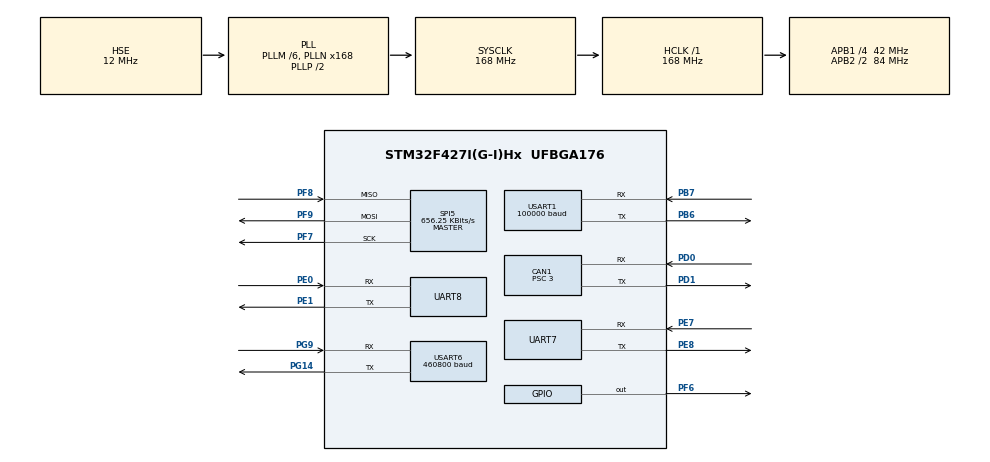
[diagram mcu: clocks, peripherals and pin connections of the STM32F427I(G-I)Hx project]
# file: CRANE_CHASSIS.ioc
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CAN1.ABOM=ENABLE
CAN1.BS1=CAN_BS1_10TQ
CAN1.BS2=CAN_BS2_3TQ
CAN1.CalculateBaudRate=1000000
CAN1.CalculateTimeBit=1000
CAN1.CalculateTimeQuantum=71.42857142857143
CAN1.Prescaler=3
Dma.Request0=USART1_RX
Dma.Request1=UART8_TX
Dma.UART8_TX.1.Direction=DMA_MEMORY_TO_PERIPH
Dma.UART8_TX.1.FIFOMode=DMA_FIFOMODE_DISABLE
Dma.UART8_TX.1.Instance=DMA1_Stream0
Dma.UART8_TX.1.MemDataAlignment=DMA_MDATAALIGN_BYTE
Dma.UART8_TX.1.MemInc=DMA_MINC_ENABLE
Dma.UART8_TX.1.Mode=DMA_CIRCULAR
Dma.UART8_TX.1.PeriphDataAlignment=DMA_PDATAALIGN_BYTE
Dma.UART8_TX.1.PeriphInc=DMA_PINC_DISABLE
Dma.UART8_TX.1.Priority=DMA_PRIORITY_LOW
Dma.USART1_RX.0.Direction=DMA_PERIPH_TO_MEMORY
Dma.USART1_RX.0.FIFOMode=DMA_FIFOMODE_DISABLE
Dma.USART1_RX.0.Instance=DMA2_Stream2
Dma.USART1_RX.0.MemDataAlignment=DMA_MDATAALIGN_BYTE
Dma.USART1_RX.0.MemInc=DMA_MINC_ENABLE
Dma.USART1_RX.0.Mode=DMA_NORMAL
Dma.USART1_RX.0.PeriphDataAlignment=DMA_PDATAALIGN_BYTE
Dma.USART1_RX.0.PeriphInc=DMA_PINC_DISABLE
Dma.USART1_RX.0.Priority=DMA_PRIORITY_LOW
Mcu.Family=STM32F4
Mcu.Name=STM32F427I(G-I)Hx
Mcu.Package=UFBGA176
NVIC.CAN1_RX0_IRQn=true\:0\:0\:false\:false\:true\:true\:true\:true
NVIC.CAN1_TX_IRQn=true\:0\:0\:false\:false\:true\:true\:true\:true
NVIC.DMA1_Stream0_IRQn=true\:0\:0\:false\:false\:true\:false\:true\:true
NVIC.DMA2_Stream2_IRQn=true\:0\:0\:false\:false\:true\:false\:true\:true
NVIC.PriorityGroup=NVIC_PRIORITYGROUP_4
NVIC.TIM3_IRQn=true\:0\:0\:false\:false\:true\:true\:true\:true
NVIC.UART7_IRQn=true\:0\:0\:false\:false\:true\:true\:true\:true
NVIC.UART8_IRQn=true\:0\:0\:false\:false\:true\:true\:true\:true
NVIC.USART1_IRQn=true\:0\:0\:false\:false\:true\:true\:true\:true
NVIC.USART6_IRQn=true\:0\:0\:false\:false\:true\:true\:true\:true
PA13.Mode=Serial_Wire
PA13.Signal=SYS_JTMS-SWDIO
PA14.Mode=Serial_Wire
PA14.Signal=SYS_JTCK-SWCLK
PB6.Mode=Asynchronous
PB6.Signal=USART1_TX
PB7.Mode=Asynchronous
PB7.Signal=USART1_RX
PD0.Mode=CAN_Activate
PD0.Signal=CAN1_RX
PD1.Mode=CAN_Activate
PD1.Signal=CAN1_TX
PE0.Mode=Asynchronous
PE0.Signal=UART8_RX
PE1.Mode=Asynchronous
PE1.Signal=UART8_TX
PE7.Mode=Asynchronous
PE7.Signal=UART7_RX
PE8.Mode=Asynchronous
PE8.Signal=UART7_TX
PF6.Signal=GPIO_Output
PF7.Mode=Full_Duplex_Master
PF7.Signal=SPI5_SCK
PF8.Mode=Full_Duplex_Master
PF8.Signal=SPI5_MISO
PF9.Mode=Full_Duplex_Master
PF9.Signal=SPI5_MOSI
PG14.Mode=Asynchronous
PG14.Signal=USART6_TX
PG9.Mode=Asynchronous
PG9.Signal=USART6_RX
PH0/OSC_IN.Mode=HSE-External-Oscillator
PH0/OSC_IN.Signal=RCC_OSC_IN
PH1/OSC_OUT.Mode=HSE-External-Oscillator
PH1/OSC_OUT.Signal=RCC_OSC_OUT
ProjectManager.HeapSize=0x200
ProjectManager.StackSize=0x400
ProjectManager.TargetToolchain=MDK-ARM V5.32
RCC.48MHZClocksFreq_Value=84000000
RCC.AHBFreq_Value=168000000
RCC.APB1CLKDivider=RCC_HCLK_DIV4
RCC.APB1Freq_Value=42000000
RCC.APB1TimFreq_Value=84000000
RCC.APB2CLKDivider=RCC_HCLK_DIV2
RCC.APB2Freq_Value=84000000
RCC.APB2TimFreq_Value=168000000
RCC.CortexFreq_Value=168000000
RCC.HCLKFreq_Value=168000000
RCC.HSE_VALUE=12000000
RCC.HSI_VALUE=16000000
RCC.LSE_VALUE=32768
RCC.PLLM=6
RCC.PLLN=168
RCC.PLLSourceVirtual=RCC_PLLSOURCE_HSE
RCC.SYSCLKFreq_VALUE=168000000
RCC.SYSCLKSource=RCC_SYSCLKSOURCE_PLLCLK
RCC.VCOOutputFreq_Value=336000000
SPI5.BaudRatePrescaler=SPI_BAUDRATEPRESCALER_128
SPI5.CalculateBaudRate=656.25 KBits/s
SPI5.Direction=SPI_DIRECTION_2LINES
SPI5.Mode=SPI_MODE_MASTER
SPI5.VirtualType=VM_MASTER
TIM3.Period=1000-1
TIM3.Prescaler=168-1
UART7.VirtualMode=Asynchronous
UART8.StopBits=UART_STOPBITS_1
UART8.VirtualMode=Asynchronous
USART1.BaudRate=100000
USART1.VirtualMode=VM_ASYNC
USART6.BaudRate=460800
USART6.VirtualMode=VM_ASYNC
VP_TIM3_VS_ClockSourceINT.Mode=Internal
board=custom

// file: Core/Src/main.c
/* USER CODE BEGIN Header */
/**
  ******************************************************************************
  * @file           : main.c
  * @brief          : Main program body
  ******************************************************************************
  * @attention
  *
  * Copyright (c) 2025 STMicroelectronics.
  * All rights reserved.
  *
  * This software is licensed under terms that can be found in the LICENSE file
  * in the root directory of this software component.
  * If no LICENSE file comes with this software, it is provided AS-IS.
  *
  ******************************************************************************
  */
/* USER CODE END Header */
#include "main.h"
#include "can.h"
#include "dma.h"
#include "spi.h"
#include "tim.h"
#include "usart.h"
#include "gpio.h"

/* USER CODE BEGIN Includes */
/******************/
/********姣忔cubemx鐢熸垚鍚庨兘闇€瑕佸湪stm32f4xx_it.c閲岄潰鎶奌AL_UART_IRQHandler(&huart1)娉ㄩ噴鎺?******/
/******************/
#include "RC_Task.h"
#include "mytype.h"
#include "CanBus_Task.h"
#include "PID.h"
#include "Paraminit.h"
#include "ControlTask.h"
#include "flow_decode.h"
#include "wit_c_sdk.h"
#include "stdio.h"
#include "string.h"
#include "math.h"
#include "uart_comm.h"
#include "VisionComm.h"
#include "Buzzer.h"
//#include "kalman.h"
/* USER CODE END Includes */

/* USER CODE BEGIN PTD */

/*********閬ユ帶DR16*************/
  uint8_t TIM3_flag=0;
  uint8_t c_flag=0;
	uint8_t ctrl_c_flag=0;
	uint8_t v_flag=0;
	uint8_t ctrl_v_flag=0;
	uint8_t e_flag=0;
	uint8_t f_flag,g_flag=0;
	uint8_t gimbal_view_chassis_flag=0;

/********IMU闄€铻轰华**************/
#define ACC_UPDATE		0x01
#define GYRO_UPDATE		0x02
#define ANGLE_UPDATE	0x04
#define MAG_UPDATE		0x08
#define READ_UPDATE		0x80
static volatile char s_cDataUpdate = 0, s_cCmd = 0xff;
const uint32_t c_uiBaud[10] = {0, 4800, 9600, 19200, 38400, 57600, 115200, 230400, 460800, 921600};
static void SensorUartSend(uint8_t *p_data, uint32_t uiSize);
static void SensorDataUpdata(uint32_t uiReg, uint32_t uiRegNum);
static void Delayms(uint16_t ucMs);

float fAcc[3], fGyro[3], fAngle[3];
int i;
float fAngle_tmp = 0;

enum{

    Angle_Roll = 0,
    Angle_Pitch = 1,
    Angle_Yaw = 2,
};
uint8_t IMU_Rx_Buffer = 0;

/*******鍏夋祦璁℃帴鏀?********/
#define MINCOOR 3
uint8_t Flow_Rx_Buffer = 0;
int ret;
uint8_t limit_control_flag = 0;
/*******涓婁綅鏈烘帴鏀?********/
uint8_t uart_rx_buffer[UART_BUFFER_SIZE];
//float speedBuffer[4];
uint8_t stopflag = 0;
/* USER CODE END PTD */

/* USER CODE BEGIN PV */
uint8_t updatePosFlag = 0;
/* USER CODE END PV */

void SystemClock_Config(void);

/* USER CODE BEGIN 0 */
void imu_getData()
{
//	CmdProcess();
		if(s_cDataUpdate)
		{
//			for(i = 0; i < 3; i++)
//			{
//				fAcc[i] = sReg[AX+i] / 32768.0f * 16.0f;
//				fGyro[i] = sReg[GX+i] / 32768.0f * 2000.0f;
//			}
			if(sReg[TEMP] - sReg[Roll] > 10 | sReg[Roll] - sReg[TEMP] > 10)
			{
				fAngle[0] = sReg[Roll] / 32768.0f * 180.0f;
				fAngle_tmp = fAngle[0];
			}
			else   fAngle[0] = fAngle_tmp;

			for(i = 1; i<3;i++)
			{
				fAngle[i] = sReg[Roll+i] / 32768.0f * 180.0f;
			}
		   coor.angle = fAngle[Angle_Yaw];
//			if(s_cDataUpdate & ACC_UPDATE)
//			{
//				printf("acc:%.3f %.3f %.3f\r\n", fAcc[0], fAcc[1], fAcc[2]);
//				s_cDataUpdate &= ~ACC_UPDATE;
//			}
//			if(s_cDataUpdate & GYRO_UPDATE)
//			{
//				printf("gyro:%.3f %.3f %.3f\r\n", fGyro[0], fGyro[1], fGyro[2]);
//				s_cDataUpdate &= ~GYRO_UPDATE;
//			}
			if(s_cDataUpdate & ANGLE_UPDATE)
			{
//				printf("angle:%.3f %.3f %.3f\r\n", fAngle[0], fAngle[1], fAngle[2]);
				s_cDataUpdate &= ~ANGLE_UPDATE;
			}
//			if(s_cDataUpdate & MAG_UPDATE)
//			{
//				printf("mag:%d %d %d\r\n", sReg[HX], sReg[HY], sReg[HZ]);
//				s_cDataUpdate &= ~MAG_UPDATE;
//			}
		}
}

/* USER CODE END 0 */

int main(void)
{

  /* MCU Configuration--------------------------------------------------------*/

  /* Reset of all peripherals, Initializes the Flash interface and the Systick. */
  HAL_Init();

  /* Configure the system clock */
  SystemClock_Config();

  /* Initialize all configured peripherals */
  MX_GPIO_Init();
  MX_DMA_Init();
  MX_CAN1_Init();
  MX_USART1_UART_Init();
  MX_TIM3_Init();
  MX_USART6_UART_Init();
  MX_SPI5_Init();
  MX_UART7_Init();
  MX_UART8_Init();
  /* USER CODE BEGIN 2 */
	if (Buzzer_Init() == HAL_OK)
	{
		Buzzer_Play(BUZZER_SOUND_BOOT);
	}
 	CANFilterInit();//锟斤拷锟斤拷CAN通锟斤拷

	ParamInit();//pid param init
	ABoardKey_Init();//DJI A board key init for motor closed-loop test

	WitInit(WIT_PROTOCOL_NORMAL, 0x50);//姝ｅ父妯″紡
	WitSerialWriteRegister(SensorUartSend);//娉ㄥ唽涓插彛鍙戦€佸嚱鏁?
	WitRegisterCallBack(SensorDataUpdata);//娉ㄥ唽鏁版嵁鏇存柊鍥炶皟鍑芥暟
	WitDelayMsRegister(Delayms);//娉ㄥ唽寤舵椂鍑芥暟
	// AutoScanSensor();
	HAL_UART_Receive_IT_IDLE(&huart1,UART_Buffer,100); //閬ユ帶鍣ㄤ覆鍙ｅ垵濮嬪寲
	HAL_UART_Receive_IT(&huart6, &Flow_Rx_Buffer ,1);//鍏夋祦璁℃帴鏀朵腑鏂?
	HAL_UART_Receive_IT(&huart7, &IMU_Rx_Buffer, 1);//IMU鎺ユ敹涓柇
	VisionComm_Init(&huart8);
//	HAL_UART_Receive_IT(&huart8, &uart_rx_buffer[buffer_index], 1);//涓婁綅鏈烘帴鏀朵腑鏂?
//	HAL_UART_Receive_IT(&huart8, &uart_rx_buffer[buffer_index], 1);//涓婁綅鏈烘帴鏀朵腑鏂?
	/* UART8 reserved for MaixCAM vision text protocol. */

//	kalman_Init();
//	while (!(s_cDataUpdate & ANGLE_UPDATE))
//	{
//		imu_getData();
//	}
	HAL_TIM_Base_Start_IT(&htim3);//1ms瀹氭椂

  /* USER CODE END 2 */

  /* Infinite loop */
  /* USER CODE BEGIN WHILE */
  while (1)
  {
//		speedBuffer[0] = (float)Chassis.fr_motor_rpm_201;
//	  	speedBuffer[1] = (float)Chassis.fl_motor_rpm_202;
//		speedBuffer[2] = (float)Chassis.rl_motor_rpm_203;
//		speedBuffer[3] = (float)Chassis.rr_motor_rpm_204;

//	  if( (-5 < Chassis.fr_motor_rpm_201 && Chassis.fr_motor_rpm_201 < 5) &&
//		  (-5 < Chassis.fl_motor_rpm_202 && Chassis.fl_motor_rpm_202 < 5) &&
//	      (-5 < Chassis.rl_motor_rpm_203 &&Chassis.rl_motor_rpm_203 < 5) &&
//		  (-5 <Chassis.rr_motor_rpm_204 &&Chassis.rr_motor_rpm_204 < 5))
//		  stopflag = 1;//杞﹀凡缁忛潤姝?
//	 if( (Chassis.fr_motor_rpm_201 == 0) &&
//		  (Chassis.fl_motor_rpm_202==0) &&
//	      (Chassis.rl_motor_rpm_203==0) &&
//		  (Chassis.rr_motor_rpm_204==0))
//		  stopflag = 1;//杞﹀凡缁忛潤姝?
//	 else
//		  stopflag = 0;
//	  imu_getData();
	  if (coor.flow_x - coor.target_x < 500  &&
			  coor.flow_x - coor.target_x > -500 &&
			  coor.flow_y - coor.target_y < 500  &&
			  coor.flow_y - coor.target_y > -500 &&
			  coor.angle - coor.target_angle < 0.08f&&
			  coor.angle - coor.target_angle > -0.08f)
		  {
			  stopflag = 1;//杞﹀凡缁忛潤姝?
		  }
		  else
		  {
			  stopflag = 0;
		  }
	  	if(TIM3_flag ==1)
		{
			TIM3_flag =0;

			AllTask();
//			 if(RC_UPPER_RIGHT_SW_DOWN)
//			 {
//				 c_flag=1;
//				 LED2_OFF;

//			 }
//			 else
//			 {
//					c_flag=0;
//					LED2_ON;
//			 }
//			 sen_can_comu_Board2(&hcan2, c_flag,ctrl_c_flag,v_flag,ctrl_v_flag,e_flag,f_flag,g_flag, gimbal_view_chassis_flag);
		}
    /* USER CODE END WHILE */

  }
}

void SystemClock_Config(void)
{
  RCC_OscInitTypeDef RCC_OscInitStruct = {0};
  RCC_ClkInitTypeDef RCC_ClkInitStruct = {0};

  /** Configure the main internal regulator output voltage
  */
  __HAL_RCC_PWR_CLK_ENABLE();
  __HAL_PWR_VOLTAGESCALING_CONFIG(PWR_REGULATOR_VOLTAGE_SCALE1);

  /** Initializes the RCC Oscillators according to the specified parameters
  * in the RCC_OscInitTypeDef structure.
  */
  RCC_OscInitStruct.OscillatorType = RCC_OSCILLATORTYPE_HSE;
  RCC_OscInitStruct.HSEState = RCC_HSE_ON;
  RCC_OscInitStruct.PLL.PLLState = RCC_PLL_ON;
  RCC_OscInitStruct.PLL.PLLSource = RCC_PLLSOURCE_HSE;
  RCC_OscInitStruct.PLL.PLLM = 6;
  RCC_OscInitStruct.PLL.PLLN = 168;
  RCC_OscInitStruct.PLL.PLLP = RCC_PLLP_DIV2;
  RCC_OscInitStruct.PLL.PLLQ = 4;
  if (HAL_RCC_OscConfig(&RCC_OscInitStruct) != HAL_OK)
  {
    Error_Handler();
  }

  /** Initializes the CPU, AHB and APB buses clocks
  */
  RCC_ClkInitStruct.ClockType = RCC_CLOCKTYPE_HCLK|RCC_CLOCKTYPE_SYSCLK
                              |RCC_CLOCKTYPE_PCLK1|RCC_CLOCKTYPE_PCLK2;
  RCC_ClkInitStruct.SYSCLKSource = RCC_SYSCLKSOURCE_PLLCLK;
  RCC_ClkInitStruct.AHBCLKDivider = RCC_SYSCLK_DIV1;
  RCC_ClkInitStruct.APB1CLKDivider = RCC_HCLK_DIV4;
  RCC_ClkInitStruct.APB2CLKDivider = RCC_HCLK_DIV2;

  if (HAL_RCC_ClockConfig(&RCC_ClkInitStruct, FLASH_LATENCY_5) != HAL_OK)
  {
    Error_Handler();
  }
}

/* USER CODE BEGIN 4 */
void HAL_TIM_PeriodElapsedCallback(TIM_HandleTypeDef *htim)
{
    static uint16_t ms1 = 0,ms2 = 0,ms3=0;
    if(htim->Instance == TIM3)
    {

            ms1 = 0;
            TIM3_flag = 1;

	}
}

void HAL_UART_RxCpltCallback(UART_HandleTypeDef *huart)
{
	if (huart->Instance == USART6)
	{
		ret = upnotof_parse_char(Flow_Rx_Buffer);
			//302GS浣跨敤鐨刄PIXELS绾厜娴佸崗璁?
		if(!ret)
		{
			if (ABS(up_flow_data.flow_x_integral) > MINCOOR )
			{

//				coor.flow_x	+= Kalman_Update(&kf_x, up_flow_data.flow_x_integral);
				coor.flow_x	+= up_flow_data.flow_x_integral;

			}
			if (ABS(up_flow_data.flow_y_integral) > MINCOOR)
			{
					coor.flow_y	+= up_flow_data.flow_y_integral;
			}
		}
		HAL_UART_Receive_IT(&huart6, &Flow_Rx_Buffer, 1);

	}
	if (huart->Instance == UART7)
	{
			WitSerialDataIn(IMU_Rx_Buffer);
			HAL_UART_Receive_IT(&huart7, &IMU_Rx_Buffer, 1);

	}
	if (huart->Instance == UART8)
	{
		VisionComm_RxCpltCallback(huart);
	}

}

void HAL_UART_TxCpltCallback(UART_HandleTypeDef *huart)
{
	/* 原上位机 stopflag 自循环发送已移除:UART8 现作为 vofa/日志专用口,
	 * 由 MotorVofaReport() 主动发送,不再在此自循环占用发送带宽。 */
	(void)huart;
}

void CopeCmdData(unsigned char ucData)
{
	static unsigned char s_ucData[50], s_ucRxCnt = 0;

	s_ucData[s_ucRxCnt++] = ucData;
	if(s_ucRxCnt<3)return;										//Less than three data returned
	if(s_ucRxCnt >= 50) s_ucRxCnt = 0;
	if(s_ucRxCnt >= 3)
	{
		if((s_ucData[1] == '\r') && (s_ucData[2] == '\n'))
		{
			s_cCmd = s_ucData[0];
			memset(s_ucData,0,50);//
			s_ucRxCnt = 0;
		}
		else
		{
			s_ucData[0] = s_ucData[1];
			s_ucData[1] = s_ucData[2];
			s_ucRxCnt = 2;
		}
	}
}

static void SensorUartSend(uint8_t *p_data, uint32_t uiSize)
{
	HAL_UART_Transmit(&huart6 ,p_data, uiSize, HAL_MAX_DELAY);
}

static void Delayms(uint16_t ucMs)
{
	HAL_Delay(ucMs);
}

static void SensorDataUpdata(uint32_t uiReg, uint32_t uiRegNum)
{
	int i;
    for(i = 0; i < uiRegNum; i++)
    {
        switch(uiReg)
        {
//            case AX:
//            case AY:
            case AZ:
//				s_cDataUpdate |= ACC_UPDATE;
            break;
//            case GX:
//            case GY:
            case GZ:
//				s_cDataUpdate |= GYRO_UPDATE;
            break;
//            case HX:
//            case HY:
            case HZ:
//				s_cDataUpdate |= MAG_UPDATE;
            break;
//            case Roll:
//            case Pitch:
            case Yaw:
				s_cDataUpdate |= ANGLE_UPDATE;
            break;
            default:
//				s_cDataUpdate |= READ_UPDATE;
			break;
        }
		uiReg++;
    }
}

/* USER CODE END 4 */

void Error_Handler(void)
{
  __disable_irq();
  while (1)
  {
  }
}
